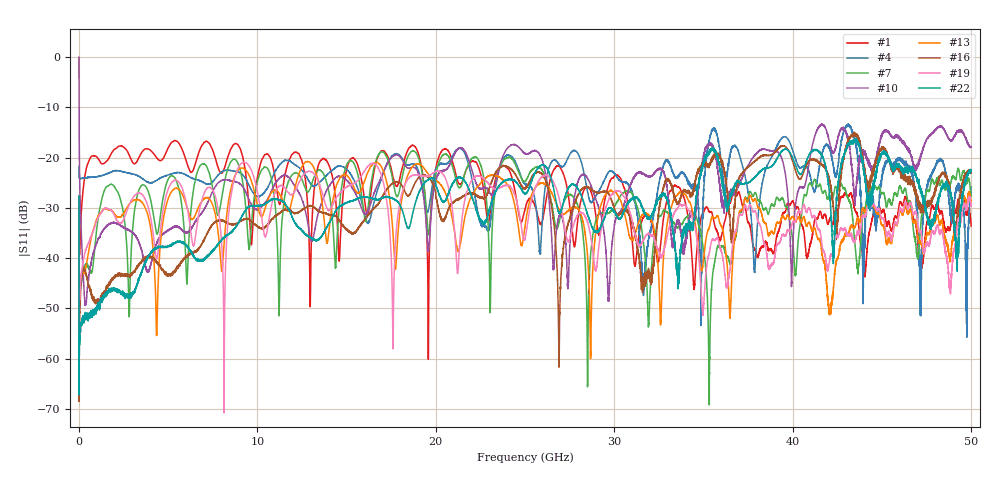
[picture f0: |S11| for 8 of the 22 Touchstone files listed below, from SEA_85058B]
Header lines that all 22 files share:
!Created with skrf (http://scikit-rf.org).
# Hz S RI R 50.0
!freq ReS11 ImS11
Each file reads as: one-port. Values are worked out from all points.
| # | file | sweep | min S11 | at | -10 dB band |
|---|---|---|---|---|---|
| 1 | 85058B_FF_AnritsuPower_MA2425A_8510C_mate1_swp2.s1p | 45 MHz to 50 GHz | -60.1 dB | 19.58 GHz | over 49.95 GHz wide |
| 2 | 85058B_FF_AnritsuPower_MA2425A_FieldFox_mate1_swp0.s1p | 300 kHz to 50 GHz | -65.7 dB | 34.87 GHz | over 50 GHz wide |
| 3 | 85058B_FF_AnritsuPower_MA2425A_FieldFox_mate1_swp1.s1p | 300 kHz to 50 GHz | -55.0 dB | 43.95 GHz | over 50 GHz wide |
| 4 | 85058B_FF_AnritsuPower_MA2425A_FieldFox_mate1_swp2.s1p | 300 kHz to 50 GHz | -55.7 dB | 49.76 GHz | over 50 GHz wide |
| 5 | 85058B_FF_AnritsuPower_MA2475A_8510C_mate1_swp0.s1p | 45 MHz to 50 GHz | -65.6 dB | 35.31 GHz | over 49.95 GHz wide |
| 6 | 85058B_FF_AnritsuPower_MA2475A_8510C_mate1_swp1.s1p | 45 MHz to 50 GHz | -64.9 dB | 35.33 GHz | over 49.95 GHz wide |
| 7 | 85058B_FF_AnritsuPower_MA2475A_8510C_mate1_swp2.s1p | 45 MHz to 50 GHz | -69.2 dB | 35.33 GHz | over 49.95 GHz wide |
| 8 | 85058B_FF_AnritsuPower_MA2475A_FieldFox_mate1_swp0.s1p | 300 kHz to 50 GHz | -49.2 dB | 370.3 MHz | over 49.99 GHz wide |
| 9 | 85058B_FF_AnritsuPower_MA2475A_FieldFox_mate1_swp1.s1p | 300 kHz to 50 GHz | -49.6 dB | 380.3 MHz | over 49.99 GHz wide |
| 10 | 85058B_FF_AnritsuPower_MA2475A_FieldFox_mate1_swp2.s1p | 300 kHz to 50 GHz | -49.4 dB | 350.3 MHz | over 49.99 GHz wide |
| 11 | 85058B_FM_3654B_FTERM1_8510C_mate1_swp0.s1p | 45 MHz to 50 GHz | -59.7 dB | 28.67 GHz | over 49.95 GHz wide |
| 12 | 85058B_FM_3654B_FTERM1_8510C_mate1_swp1.s1p | 45 MHz to 50 GHz | -60.4 dB | 28.68 GHz | over 49.95 GHz wide |
| 13 | 85058B_FM_3654B_FTERM1_8510C_mate1_swp2.s1p | 45 MHz to 50 GHz | -60.0 dB | 28.67 GHz | over 49.95 GHz wide |
| 14 | 85058B_FM_3654B_FTERM1_FieldFox_mate1_swp0.s1p | 300 kHz to 50 GHz | -63.5 dB | 5.3 MHz | over 50 GHz wide |
| 15 | 85058B_FM_3654B_FTERM1_FieldFox_mate1_swp1.s1p | 300 kHz to 50 GHz | -69.3 dB | 5.3 MHz | over 50 GHz wide |
| 16 | 85058B_FM_3654B_FTERM1_FieldFox_mate1_swp2.s1p | 300 kHz to 50 GHz | -68.5 dB | 5.3 MHz | over 50 GHz wide |
| 17 | 85058B_FM_3654B_FTERM2_8510C_mate1_swp0.s1p | 45 MHz to 50 GHz | -70.4 dB | 8.138 GHz | over 49.95 GHz wide |
| 18 | 85058B_FM_3654B_FTERM2_8510C_mate1_swp1.s1p | 45 MHz to 50 GHz | -67.2 dB | 8.138 GHz | over 49.95 GHz wide |
| 19 | 85058B_FM_3654B_FTERM2_8510C_mate1_swp2.s1p | 45 MHz to 50 GHz | -70.8 dB | 8.138 GHz | over 49.95 GHz wide |
| 20 | 85058B_FM_3654B_FTERM2_FieldFox_mate1_swp0.s1p | 300 kHz to 50 GHz | -62.8 dB | 5.3 MHz | over 50 GHz wide |
| 21 | 85058B_FM_3654B_FTERM2_FieldFox_mate1_swp1.s1p | 300 kHz to 50 GHz | -64.2 dB | 5.3 MHz | over 50 GHz wide |
| 22 | 85058B_FM_3654B_FTERM2_FieldFox_mate1_swp2.s1p | 300 kHz to 50 GHz | -67.2 dB | 5.3 MHz | over 50 GHz wide |
